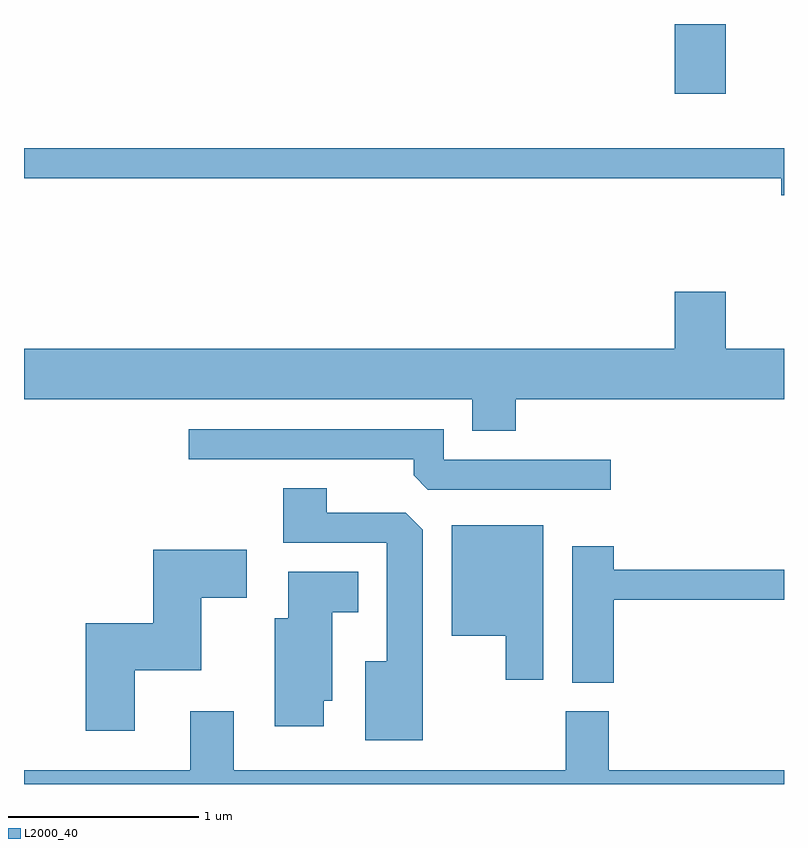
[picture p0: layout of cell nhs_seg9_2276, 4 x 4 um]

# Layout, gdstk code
import gdstk
lib = gdstk.Library(unit=1e-6, precision=1e-09)
def R(c, l, rs):  # rectangles x0, y0, x1, y1
    for r in rs: c.add(gdstk.rectangle(r[:2], r[2:], *l))
def P(c, l, *ps):  # polygons
    for p in ps: c.add(gdstk.Polygon(p, *l))
L2000_40 = (2000, 40)

nhs_seg9_2276 = lib.new_cell('nhs_seg9_2276')
R(nhs_seg9_2276, L2000_40, [(255.036,2020.066,255.304,2020.432)])
P(nhs_seg9_2276, L2000_40, [(255.611,2019.779),(251.611,2019.779),(251.611,2019.621),(255.596,2019.621),(255.596,2019.531),(255.611,2019.531)],
  [(255.611,2018.724),(255.304,2018.724),(255.304,2019.024),(255.036,2019.024),(255.036,2018.724),(251.611,2018.724),(251.611,2018.456),(253.971,2018.456),(253.971,2018.291),(254.199,2018.291),(254.199,2018.456),(255.611,2018.456)],
  [(254.698,2018.139),(253.819,2018.139),(253.819,2018.299),(252.478,2018.299),(252.478,2018.141),(253.661,2018.141),(253.661,2018.057),(253.737,2017.981),(254.698,2017.981)],
  [(253.709,2017.769),(253.619,2017.859),(253.204,2017.859),(253.204,2017.989),(252.976,2017.989),(252.976,2017.701),(253.521,2017.701),(253.521,2017.079),(253.406,2017.079),(253.406,2016.661),(253.709,2016.661)],
  [(254.344,2017.794),(253.861,2017.794),(253.861,2017.211),(254.146,2017.211),(254.146,2016.981),(254.344,2016.981)],
  [(254.714,2017.401),(255.611,2017.401),(255.611,2017.559),(254.714,2017.559),(254.714,2017.684),(254.496,2017.684),(254.496,2016.966),(254.714,2016.966)],
  [(252.194,2017.031),(252.544,2017.031),(252.544,2017.411),(252.784,2017.411),(252.784,2017.664),(252.291,2017.664),(252.291,2017.279),(251.936,2017.279),(251.936,2016.711),(252.194,2016.711)],
  [(253.189,2016.871),(253.234,2016.871),(253.234,2017.336),(253.369,2017.336),(253.369,2017.549),(253.001,2017.549),(253.001,2017.304),(252.931,2017.304),(252.931,2016.736),(253.189,2016.736)],
  [(255.611,2016.504),(254.689,2016.504),(254.689,2016.814),(254.461,2016.814),(254.461,2016.504),(252.714,2016.504),(252.714,2016.814),(252.486,2016.814),(252.486,2016.504),(251.611,2016.504),(251.611,2016.432),(255.611,2016.432)])

lib.write_gds('nhs_seg9_2276.gds')
